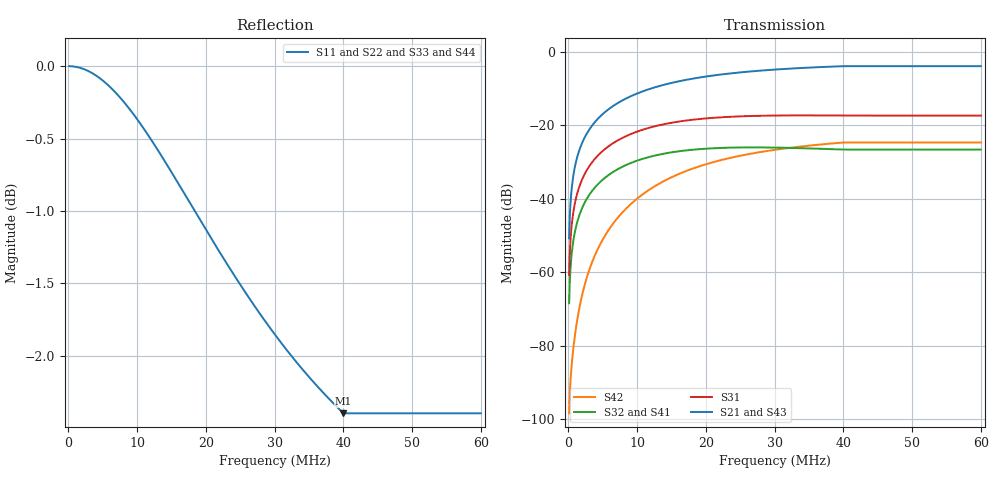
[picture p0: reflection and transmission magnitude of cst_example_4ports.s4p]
! TOUCHSTONE file generated by CST MICROWAVE STUDIO
! Date and time: Mon Jul 31 16:08:40 2017
! Project name: secret_device.cst
! Parameters = {Z0_coax=50; box_add_th=400; box_d=75.4; box_full_d=101; box_full_h=924; box_full_w=378; box_inner_h=888; box_inner_w=342; capa=188; tap_plate_h1=75; tap_plate_horiz_l=25; tap_plate_horiz_th=20; tap_plate_th=6; tap_plate_w=46; tap_point_h_vs_center_coax=65}
! Header version: 2015
! Port assignment regex: !\s*Touchstone port\s*([0-9]+)\s*=\s*CST MWS port\s*([0-9]+)\s*\(\"(.*)\"\)(\s*mode\s*([0-9]+))?.*
! Touchstone port assignment:
! Touchstone port 1 = CST MWS port 1 ("")
! Touchstone port 2 = CST MWS port 2 ("")
! Touchstone port 3 = CST MWS port 3 ("")
! Touchstone port 4 = CST MWS port 4 ("")
# MHz S MA R 50
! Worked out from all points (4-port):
!   600 points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, 100 kHz to 60 MHz, reference 50 ohm
!   strongest paths, dB at 100 kHz, 15.1 MHz, 30.1 MHz, 45.1 MHz, 60 MHz:
!     S21: -50.8, -8.5, -4.9, -4.0, -4.0
!     S43: -50.8, -8.5, -4.9, -4.0, -4.0
!     S31: -60.7, -19.3, -17.4, -17.4, -17.4
!     S32: -68.4, -27.4, -26.1, -26.6, -26.6
!     S41: -68.5, -27.4, -26.1, -26.6, -26.6
!     S42: -98.3, -34.1, -26.7, -24.7, -24.7
!   lowest |S11| = -2.4 dB at 40 MHz (marker M1), VSWR 7.29, Z = 27.1 + j82.6 ohm
!   |S11| at or under -10 dB: nowhere
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0.1  1 179.6  0.002888 89.5  0.0009197 -90.6  0.0003786 -90.5
     0.002889 89.5  1 179.8  0.0003773 -90.4  2.177e-05 135.3
     0.0009207 -90.5  0.0003803 -90.5  1 179.6  0.002893 89.5
     0.0003775 -90.3  1.212e-05 112.3  0.002892 89.5  1 179.8
0.9  0.9996 176.3  0.026 87.1  0.008308 -94.3  0.003389 -94.7
     0.026 87.1  0.9997 178.0  0.003393 -94.7  0.0001303 131.6
     0.008309 -94.3  0.003394 -94.7  0.9996 176.3  0.02602 87.1
     0.003389 -94.7  0.0001294 131.5  0.02602 87.1  0.9997 178.0
2.6  0.9968 169.5  0.07478 81.7  0.02382 -102.3  0.009706 -103.4
     0.07479 81.7  0.9971 174.2  0.009719 -103.4  0.0008003 149.0
     0.02382 -102.3  0.009718 -103.4  0.9968 169.5  0.07484 81.7
     0.009707 -103.4  0.0008056 149.0  0.07484 81.7  0.9971 174.2
5.8  0.9849 156.7  0.1636 71.7  0.05134 -117.2  0.02085 -119.6
     0.1636 71.7  0.9863 167.1  0.02087 -119.6  0.00372 144.2
     0.05134 -117.2  0.02088 -119.7  0.9848 156.7  0.1637 71.7
     0.02085 -119.6  0.003708 144.1  0.1637 71.7  0.9863 167.1
10.8  0.9527 137.8  0.2881 56.9  0.08676 -139.0  0.03483 -143.5
      0.2881 56.9  0.9568 156.6  0.03487 -143.5  0.01148 126.3
      0.08676 -139.0  0.03488 -143.5  0.9527 137.7  0.2882 56.8
      0.03483 -143.4  0.01148 126.3  0.2882 56.8  0.9568 156.7
40  0.7586 58.5  0.6338 -6.1  0.1349 136.4  0.04651 127.7
    0.6337 -6.1  0.7695 110.0  0.04658 127.6  0.05813 47.3
    0.1349 136.4  0.04658 127.6  0.7589 58.4  0.6335 -6.1
    0.04651 127.7  0.05813 47.3  0.6335 -6.1  0.7697 110.0
60  0.7586 58.5  0.6338 -6.1  0.1349 136.4  0.04651 127.7
    0.6337 -6.1  0.7695 110.0  0.04658 127.6  0.05813 47.3
    0.1349 136.4  0.04658 127.6  0.7589 58.4  0.6335 -6.1
    0.04651 127.7  0.05813 47.3  0.6335 -6.1  0.7697 110.0
